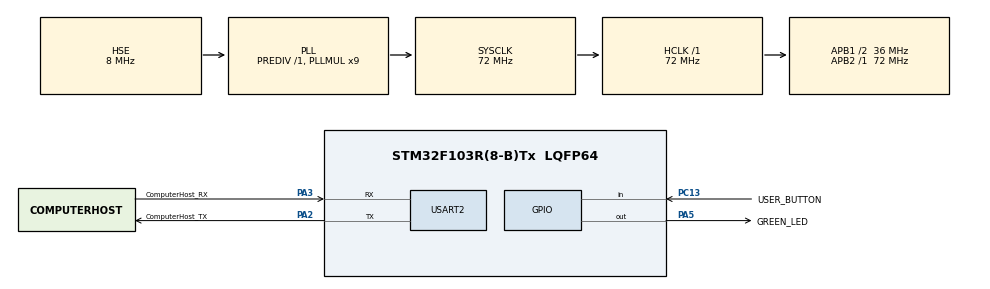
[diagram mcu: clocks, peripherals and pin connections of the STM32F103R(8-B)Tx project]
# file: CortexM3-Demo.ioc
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IWDG.Prescaler=IWDG_PRESCALER_32
Mcu.Family=STM32F1
Mcu.Name=STM32F103R(8-B)Tx
Mcu.Package=LQFP64
NVIC.PriorityGroup=NVIC_PRIORITYGROUP_4
NVIC.USART2_IRQn=true\:0\:0\:false\:false\:true\:true\:true
PA13.GPIO_Label=TMS
PA13.Mode=Serial_Wire
PA13.Signal=SYS_JTMS-SWDIO
PA14.GPIO_Label=TCK
PA14.Mode=Serial_Wire
PA14.Signal=SYS_JTCK-SWCLK
PA2.GPIO_Label=ComputerHost_TX
PA2.GPIO_Mode=GPIO_MODE_AF_PP
PA2.GPIO_PuPd=GPIO_NOPULL
PA2.GPIO_Speed=GPIO_SPEED_FREQ_LOW
PA2.Mode=Asynchronous
PA2.Signal=USART2_TX
PA3.GPIO_Label=ComputerHost_RX
PA3.GPIO_Mode=GPIO_MODE_AF_PP
PA3.GPIO_PuPd=GPIO_NOPULL
PA3.GPIO_Speed=GPIO_SPEED_FREQ_LOW
PA3.Mode=Asynchronous
PA3.Signal=USART2_RX
PA5.GPIO_Label=GREEN_LED
PA5.GPIO_ModeDefaultOutputPP=GPIO_MODE_OUTPUT_PP
PA5.GPIO_PuPd=GPIO_NOPULL
PA5.GPIO_Speed=GPIO_SPEED_FREQ_LOW
PA5.Signal=GPIO_Output
PB3.GPIO_Label=SWO
PB3.Signal=SYS_JTDO-TRACESWO
PC13-TAMPER-RTC.GPIO_Label=USER_BUTTON
PC13-TAMPER-RTC.GPIO_PuPd=GPIO_NOPULL
PC13-TAMPER-RTC.Signal=GPIO_Input
PC14-OSC32_IN.Mode=LSE-External-Oscillator
PC14-OSC32_IN.Signal=RCC_OSC32_IN
PC15-OSC32_OUT.Mode=LSE-External-Oscillator
PC15-OSC32_OUT.Signal=RCC_OSC32_OUT
PD0-OSC_IN.Mode=HSE-External-Clock-Source
PD0-OSC_IN.Signal=RCC_OSC_IN
PD1-OSC_OUT.Mode=HSE-External-Clock-Source
PD1-OSC_OUT.Signal=RCC_OSC_OUT
ProjectManager.HeapSize=0x200
ProjectManager.StackSize=0x400
ProjectManager.TargetToolchain=MDK-ARM V5
RCC.AHBFreq_Value=72000000
RCC.APB1CLKDivider=RCC_HCLK_DIV2
RCC.APB1Freq_Value=36000000
RCC.APB1TimFreq_Value=72000000
RCC.APB2Freq_Value=72000000
RCC.APB2TimFreq_Value=72000000
RCC.HCLKFreq_Value=72000000
RCC.PLLMUL=RCC_PLL_MUL9
RCC.PLLSourceVirtual=RCC_PLLSOURCE_HSE
RCC.RTCClockSelection=RCC_RTCCLKSOURCE_LSE
RCC.SYSCLKFreq_VALUE=72000000
RCC.SYSCLKSource=RCC_SYSCLKSOURCE_PLLCLK
RCC.USBFreq_Value=72000000
USART2.VirtualMode=VM_ASYNC
VP_IWDG_VS_IWDG.Mode=IWDG_Activate
board=NUCLEO-F103RB

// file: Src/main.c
/* USER CODE BEGIN Header */
/**
  ******************************************************************************
  * @file           : main.c
  * @brief          : Main program body
	* @author         : Chan Tai Wing Vincent
	* @content        : M3 Demo - Independent WatchDog (IWDG)
	* @version        : Tutorial 4
  ******************************************************************************
  * @attention
  * This program is written for STM32F103RB Nucleo Board. This program is to
  * demonstrate how to use independent watchdog to prevent the system from
  * deadloop. When BUTTON is pressed, MCU will fall into a deadloop.
  *
  ******************************************************************************
  */
/* USER CODE END Header */

#include "main.h"

/* USER CODE BEGIN Includes */
#define TRUE 1
#define FALSE 0
/* USER CODE END Includes */

IWDG_HandleTypeDef hiwdg;

UART_HandleTypeDef huart2;

/* USER CODE BEGIN PV */
int LED_ON = FALSE;
unsigned char USART_RX_BUFFER[3];
unsigned char SYSTEM_START[] = "WELCEOM TO STM32F103RBT6 !\r\n";
unsigned char SYSTEM_WATCHDOG_RESET[] = "IWDG reset STARTS !\r\n";

/* USER CODE END PV */

void SystemClock_Config(void);
static void MX_GPIO_Init(void);
static void MX_USART2_UART_Init(void);
static void MX_IWDG_Init(void);

int main(void)
{

  /* MCU Configuration--------------------------------------------------------*/

  /* Reset of all peripherals, Initializes the Flash interface and the Systick. */
  HAL_Init();

  /* Configure the system clock */
  SystemClock_Config();

  /* Initialize all configured peripherals */
  MX_GPIO_Init();
  MX_USART2_UART_Init();
  MX_IWDG_Init();
  /* USER CODE BEGIN 2 */
  HAL_UART_Transmit(&huart2,SYSTEM_START,sizeof(SYSTEM_START)-1,300); //Ask USART2 to send message and timeout = 300ms
	HAL_UART_Receive_IT(&huart2,USART_RX_BUFFER,sizeof(USART_RX_BUFFER)); //Indicate USART2 to have RX interrupt
  /* USER CODE END 2 */

  /* Infinite loop */
  /* USER CODE BEGIN WHILE */
  while (1)
  {
		if(LED_ON == TRUE)       //Check whether "LED" is received
		{
			HAL_GPIO_WritePin(GREEN_LED_GPIO_Port,GREEN_LED_Pin,GPIO_PIN_SET);                //LED ON
		}else{
			     HAL_GPIO_WritePin(GREEN_LED_GPIO_Port,GREEN_LED_Pin,GPIO_PIN_RESET);         //LED OFF
		     }
    if(HAL_GPIO_ReadPin(USER_BUTTON_GPIO_Port,USER_BUTTON_Pin) == GPIO_PIN_RESET)       //BUTTON pressed then fall into deadloop
		{
			HAL_UART_Transmit(&huart2,SYSTEM_WATCHDOG_RESET,sizeof(SYSTEM_WATCHDOG_RESET)-1,300);
			while(1);  //Deadloop
		}
		HAL_IWDG_Refresh(&hiwdg);   //WATCHDOG Reset [within 3.2s]

    /* USER CODE END WHILE */

  }
}

void SystemClock_Config(void)
{
  RCC_OscInitTypeDef RCC_OscInitStruct = {0};
  RCC_ClkInitTypeDef RCC_ClkInitStruct = {0};

  /** Initializes the CPU, AHB and APB busses clocks
  */
  RCC_OscInitStruct.OscillatorType = RCC_OSCILLATORTYPE_LSI|RCC_OSCILLATORTYPE_HSE;
  RCC_OscInitStruct.HSEState = RCC_HSE_BYPASS;
  RCC_OscInitStruct.HSEPredivValue = RCC_HSE_PREDIV_DIV1;
  RCC_OscInitStruct.HSIState = RCC_HSI_ON;
  RCC_OscInitStruct.LSIState = RCC_LSI_ON;
  RCC_OscInitStruct.PLL.PLLState = RCC_PLL_ON;
  RCC_OscInitStruct.PLL.PLLSource = RCC_PLLSOURCE_HSE;
  RCC_OscInitStruct.PLL.PLLMUL = RCC_PLL_MUL9;
  if (HAL_RCC_OscConfig(&RCC_OscInitStruct) != HAL_OK)
  {
    Error_Handler();
  }
  /** Initializes the CPU, AHB and APB busses clocks
  */
  RCC_ClkInitStruct.ClockType = RCC_CLOCKTYPE_HCLK|RCC_CLOCKTYPE_SYSCLK
                              |RCC_CLOCKTYPE_PCLK1|RCC_CLOCKTYPE_PCLK2;
  RCC_ClkInitStruct.SYSCLKSource = RCC_SYSCLKSOURCE_PLLCLK;
  RCC_ClkInitStruct.AHBCLKDivider = RCC_SYSCLK_DIV1;
  RCC_ClkInitStruct.APB1CLKDivider = RCC_HCLK_DIV2;
  RCC_ClkInitStruct.APB2CLKDivider = RCC_HCLK_DIV1;

  if (HAL_RCC_ClockConfig(&RCC_ClkInitStruct, FLASH_LATENCY_2) != HAL_OK)
  {
    Error_Handler();
  }
}

static void MX_IWDG_Init(void)
{

  hiwdg.Instance = IWDG;
  hiwdg.Init.Prescaler = IWDG_PRESCALER_32;
  hiwdg.Init.Reload = 4095;
  if (HAL_IWDG_Init(&hiwdg) != HAL_OK)
  {
    Error_Handler();
  }

}

static void MX_USART2_UART_Init(void)
{

  huart2.Instance = USART2;
  huart2.Init.BaudRate = 115200;
  huart2.Init.WordLength = UART_WORDLENGTH_8B;
  huart2.Init.StopBits = UART_STOPBITS_1;
  huart2.Init.Parity = UART_PARITY_NONE;
  huart2.Init.Mode = UART_MODE_TX_RX;
  huart2.Init.HwFlowCtl = UART_HWCONTROL_NONE;
  huart2.Init.OverSampling = UART_OVERSAMPLING_16;
  if (HAL_UART_Init(&huart2) != HAL_OK)
  {
    Error_Handler();
  }

}

static void MX_GPIO_Init(void)
{
  GPIO_InitTypeDef GPIO_InitStruct = {0};

  /* GPIO Ports Clock Enable */
  __HAL_RCC_GPIOC_CLK_ENABLE();
  __HAL_RCC_GPIOD_CLK_ENABLE();
  __HAL_RCC_GPIOA_CLK_ENABLE();
  __HAL_RCC_GPIOB_CLK_ENABLE();

  /*Configure GPIO pin Output Level */
  HAL_GPIO_WritePin(GREEN_LED_GPIO_Port, GREEN_LED_Pin, GPIO_PIN_RESET);

  /*Configure GPIO pin : USER_BUTTON_Pin */
  GPIO_InitStruct.Pin = USER_BUTTON_Pin;
  GPIO_InitStruct.Mode = GPIO_MODE_INPUT;
  GPIO_InitStruct.Pull = GPIO_NOPULL;
  HAL_GPIO_Init(USER_BUTTON_GPIO_Port, &GPIO_InitStruct);

  /*Configure GPIO pin : GREEN_LED_Pin */
  GPIO_InitStruct.Pin = GREEN_LED_Pin;
  GPIO_InitStruct.Mode = GPIO_MODE_OUTPUT_PP;
  GPIO_InitStruct.Pull = GPIO_NOPULL;
  GPIO_InitStruct.Speed = GPIO_SPEED_FREQ_LOW;
  HAL_GPIO_Init(GREEN_LED_GPIO_Port, &GPIO_InitStruct);

}

/* USER CODE BEGIN 4 */
void HAL_UART_RxCpltCallback(UART_HandleTypeDef *huart)  //USART Receive Interrupt
{
  UNUSED(huart);
	if (huart == &huart2)  //Decide what should USART2 do when message is received
	{
		if((USART_RX_BUFFER[0] == 'L')&&(USART_RX_BUFFER[1] == 'E')&&(USART_RX_BUFFER[2] == 'D'))  //Must receive "LED" to change the state of LED
		{
			if(LED_ON == FALSE)
			{
				LED_ON = TRUE;
			}else{
				     LED_ON = FALSE;
			     }
    }
		HAL_UART_Receive_IT(&huart2,USART_RX_BUFFER,sizeof(USART_RX_BUFFER)); //Indicate USART2 to have RX interrupt
	}
}
/* USER CODE END 4 */

void Error_Handler(void)
{
}

/************************ (C) COPYRIGHT STMicroelectronics *****END OF FILE****/
